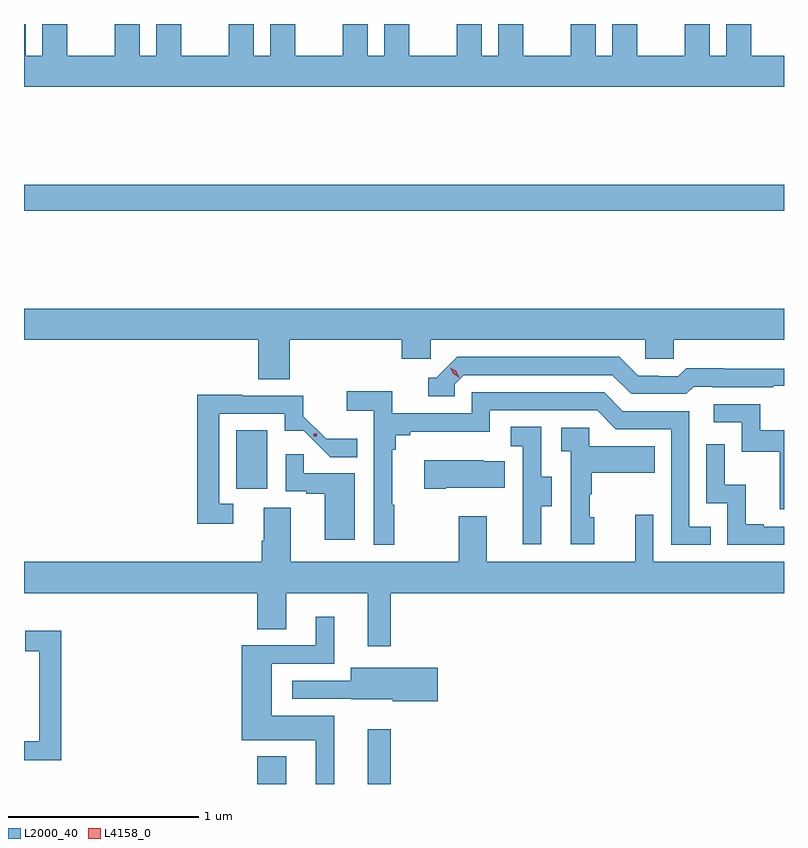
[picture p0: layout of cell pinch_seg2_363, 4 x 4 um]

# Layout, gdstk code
import gdstk
lib = gdstk.Library(unit=1e-6, precision=1e-09)
def R(c, l, rs):  # rectangles x0, y0, x1, y1
    for r in rs: c.add(gdstk.rectangle(r[:2], r[2:], *l))
def P(c, l, *ps):  # polygons
    for p in ps: c.add(gdstk.Polygon(p, *l))
L2000_40 = (2000, 40)
L4158_0 = (4158, 0)

pinch_seg2_363 = lib.new_cell('pinch_seg2_363')
R(pinch_seg2_363, L2000_40, [(995.711,610.667,995.863,610.813), (996.293,610.667,996.415,610.954), (995.6,612.222,995.764,612.529), (994.484,613.684,998.484,613.82)])
P(pinch_seg2_363, L2000_40, [(998.18,614.5),(998.092,614.5),(998.092,614.667),(997.961,614.667),(997.961,614.5),(997.711,614.5),(997.711,614.667),(997.58,614.667),(997.58,614.5),(997.492,614.5),(997.492,614.667),(997.361,614.667),(997.361,614.5),(997.111,614.5),(997.111,614.667),(996.98,614.667),(996.98,614.5),(996.892,614.5),(996.892,614.667),(996.761,614.667),(996.761,614.5),(996.511,614.5),(996.511,614.667),(996.38,614.667),(996.38,614.5),(996.292,614.5),(996.292,614.667),(996.161,614.667),(996.161,614.5),(995.911,614.5),(995.911,614.667),(995.78,614.667),(995.78,614.5),(995.692,614.5),(995.692,614.667),(995.561,614.667),(995.561,614.5),(995.311,614.5),(995.311,614.667),(995.18,614.667),(995.18,614.5),(995.092,614.5),(995.092,614.667),(994.961,614.667),(994.961,614.5),(994.711,614.5),(994.711,614.667),(994.58,614.667),(994.58,614.5),(994.492,614.5),(994.492,614.667),(994.484,614.667),(994.484,614.336),(998.484,614.336),(998.484,614.5),(998.311,614.5),(998.311,614.667),(998.18,614.667)],
  [(995.882,613.004),(996.473,613.004),(996.473,612.906),(996.624,612.906),(996.624,613.004),(997.755,613.004),(997.755,612.906),(997.905,612.906),(997.905,613.004),(998.484,613.004),(998.484,613.168),(994.484,613.168),(994.484,613.004),(995.717,613.004),(995.717,612.796),(995.882,612.796)],
  [(996.75,612.771),(996.798,612.819),(997.581,612.819),(997.68,612.72),(997.969,612.72),(998.008,612.759),(998.107,612.759),(998.107,612.756),(998.427,612.756),(998.427,612.762),(998.484,612.762),(998.484,612.853),(998.168,612.853),(998.168,612.856),(997.969,612.856),(997.927,612.813),(997.824,612.813),(997.824,612.816),(997.717,612.816),(997.618,612.915),(996.765,612.915),(996.654,612.804),(996.611,612.804),(996.611,612.708),(996.75,612.708)],
  [(996.433,612.137),(996.421,612.137),(996.421,612.425),(996.44,612.425),(996.44,612.502),(996.517,612.502),(996.517,612.521),(996.936,612.521),(996.936,612.633),(997.5,612.633),(997.599,612.534),(997.89,612.534),(997.89,611.925),(998.099,611.925),(998.099,612.021),(997.986,612.021),(997.986,612.63),(997.636,612.63),(997.537,612.729),(996.84,612.729),(996.84,612.618),(996.422,612.618),(996.422,612.734),(996.183,612.734),(996.183,612.632),(996.324,612.632),(996.324,611.925),(996.433,611.925)],
  [(995.584,612.141),(995.511,612.141),(995.511,612.615),(995.856,612.615),(995.856,612.527),(995.956,612.527),(996.095,612.388),(996.239,612.388),(996.239,612.483),(996.074,612.483),(995.955,612.602),(995.955,612.711),(995.633,612.711),(995.633,612.716),(995.395,612.716),(995.395,612.036),(995.584,612.036)],
  [(998.484,612.528),(998.36,612.528),(998.36,612.666),(998.115,612.666),(998.115,612.57),(998.262,612.57),(998.262,612.417),(998.461,612.417),(998.461,612.114),(998.484,612.114)],
  [(997.207,612.13),(997.261,612.13),(997.261,612.285),(997.206,612.285),(997.206,612.548),(997.047,612.548),(997.047,612.445),(997.11,612.445),(997.11,612.141),(997.109,612.141),(997.109,611.928),(997.207,611.928)],
  [(997.486,612.072),(997.461,612.072),(997.461,612.191),(997.471,612.191),(997.471,612.305),(997.805,612.305),(997.805,612.445),(997.458,612.445),(997.458,612.543),(997.311,612.543),(997.311,612.419),(997.362,612.419),(997.362,611.928),(997.486,611.928)],
  [(998.484,612.021),(998.377,612.021),(998.377,612.034),(998.282,612.034),(998.282,612.242),(998.172,612.242),(998.172,612.454),(998.076,612.454),(998.076,612.144),(998.184,612.144),(998.184,611.925),(998.484,611.925)],
  [(996.226,612.303),(995.957,612.303),(995.957,612.403),(995.862,612.403),(995.862,612.207),(995.969,612.207),(995.969,612.195),(996.068,612.195),(996.068,611.952),(996.226,611.952)],
  [(996.703,612.227),(997.013,612.227),(997.013,612.367),(996.905,612.367),(996.905,612.37),(996.591,612.37),(996.591,612.22),(996.703,612.22)],
  [(996.415,611.672),(998.484,611.672),(998.484,611.836),(997.797,611.836),(997.797,612.085),(997.7,612.085),(997.7,611.836),(996.919,611.836),(996.919,612.076),(996.772,612.076),(996.772,611.836),(995.887,611.836),(995.887,612.122),(995.747,612.122),(995.747,611.948),(995.735,611.948),(995.735,611.836),(994.484,611.836),(994.484,611.672),(995.711,611.672),(995.711,611.482),(995.863,611.482),(995.863,611.672),(996.293,611.672),(996.293,611.391),(996.415,611.391)],
  [(996.118,611.026),(995.788,611.026),(995.788,611.301),(996.118,611.301),(996.118,611.548),(996.02,611.548),(996.02,611.397),(995.63,611.397),(995.63,610.898),(996.02,610.898),(996.02,610.667),(996.118,610.667)],
  [(994.679,611.473),(994.491,611.473),(994.491,611.367),(994.563,611.367),(994.563,610.893),(994.484,610.893),(994.484,610.792),(994.679,610.792)],
  [(996.661,611.28),(996.203,611.28),(996.203,611.211),(995.895,611.211),(995.895,611.115),(996.207,611.115),(996.207,611.114),(996.426,611.114),(996.426,611.102),(996.661,611.102)])
P(pinch_seg2_363, L4158_0, [(996.775,612.806),(996.744,612.826),(996.728,612.858),(996.728,612.858),(996.728,612.858),(996.759,612.839),(996.775,612.806),(996.775,612.806)],
  [(996.009,612.495),(996.009,612.496),(996.009,612.511),(996.024,612.514),(996.025,612.514),(996.025,612.514),(996.025,612.498),(996.01,612.495)])

lib.write_gds('pinch_seg2_363.gds')
